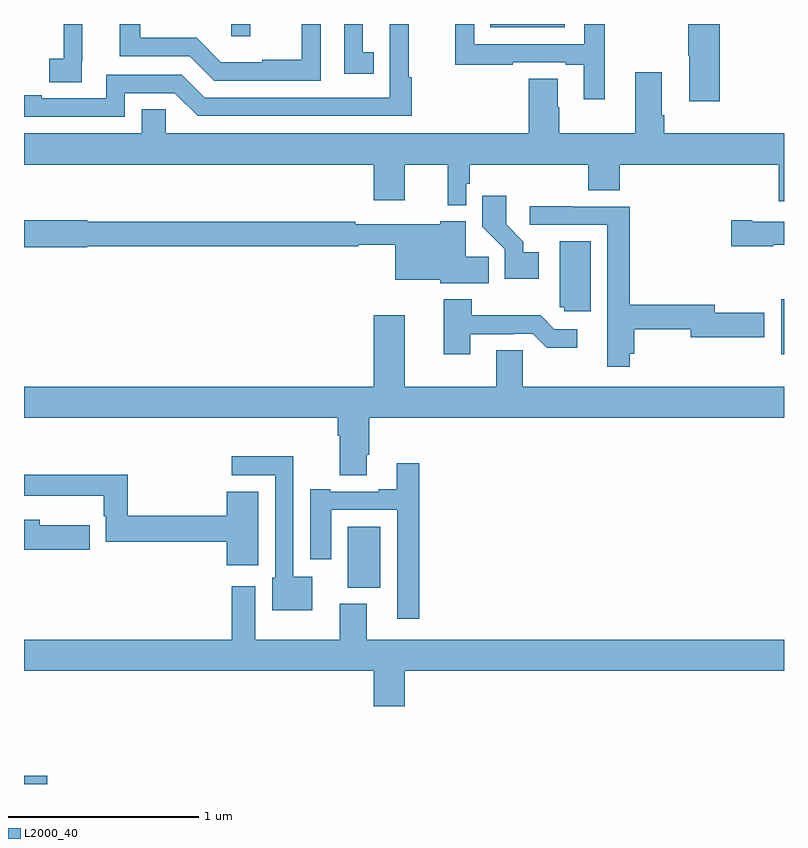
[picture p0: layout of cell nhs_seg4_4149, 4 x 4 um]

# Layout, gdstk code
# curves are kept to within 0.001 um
import gdstk
lib = gdstk.Library(unit=1e-6, precision=1e-09)
def R(c, l, rs):  # rectangles x0, y0, x1, y1
    for r in rs: c.add(gdstk.rectangle(r[:2], r[2:], *l))
def P(c, l, *ps):  # polygons
    for p in ps: c.add(gdstk.Polygon(p, *l))
L2000_40 = (2000, 40)

nhs_seg4_4149 = lib.new_cell('nhs_seg4_4149')
R(nhs_seg4_4149, L2000_40, [(331,786.9,331.123,786.944), (332.705,787.934,332.875,788.254), (334.985,789.162,335,789.451), (332.091,790.836,332.192,790.9), (333.454,790.883,333.847,790.9)])
P(nhs_seg4_4149, L2000_40, [(332.562,790.9),(332.461,790.9),(332.461,790.711),(332.255,790.711),(332.255,790.699),(332.036,790.699),(331.908,790.827),(331.612,790.827),(331.612,790.9),(331.505,790.9),(331.505,790.731),(331.872,790.731),(332.001,790.602),(332.562,790.602)],
  [(332.84,790.751),(332.782,790.751),(332.782,790.9),(332.685,790.9),(332.685,790.638),(332.84,790.638)],
  [(331.304,790.705),(331.306,790.705),(331.306,790.9),(331.208,790.9),(331.208,790.716),(331.134,790.716),(331.134,790.594),(331.304,790.594)],
  [(334.057,790.9),(333.948,790.9),(333.948,790.794),(333.369,790.794),(333.369,790.9),(333.271,790.9),(333.271,790.686),(333.572,790.686),(333.572,790.698),(333.851,790.698),(333.851,790.686),(333.947,790.686),(333.947,790.503),(334.057,790.503)],
  [(331.53,790.536),(331.794,790.536),(331.914,790.416),(333.041,790.416),(333.041,790.619),(333.024,790.619),(333.024,790.9),(332.924,790.9),(332.925,790.512),(331.95,790.512),(331.83,790.632),(331.434,790.632),(331.434,790.509),(331.093,790.509),(331.093,790.524),(331,790.524),(331,790.413),(331.53,790.413)],
  [(334.661,790.9),(334.495,790.9),(334.495,790.732),(334.502,790.732),(334.502,790.494),(334.661,790.494)],
  [(334.217,790.645),(334.217,790.324),(333.816,790.324),(333.816,790.463),(333.808,790.463),(333.808,790.613),(333.656,790.613),(333.656,790.324),(331.746,790.324),(331.746,790.451),(331.619,790.451),(331.619,790.324),(331,790.324),(331,790.16),(332.84,790.16),(332.84,789.972),(333.004,789.972),(333.004,790.16),(333.229,790.16),(333.229,789.947),(333.327,789.947),(333.327,790.059),(333.347,790.059),(333.347,790.16),(333.971,790.16),(333.971,790.024),(334.136,790.024),(334.136,790.16),(334.973,790.16),(334.973,789.966),(335,789.966),(335,790.324),(334.37,790.324),(334.37,790.42),(334.357,790.42),(334.357,790.645)],
  [(333.709,789.7),(333.628,789.7),(333.628,789.755),(333.538,789.845),(333.538,789.997),(333.412,789.997),(333.412,789.834),(333.531,789.715),(333.531,789.56),(333.709,789.56)],
  [(334.187,789.164),(334.212,789.164),(334.212,789.294),(334.508,789.294),(334.508,789.251),(334.897,789.251),(334.897,789.381),(334.636,789.381),(334.636,789.422),(334.187,789.422),(334.187,789.939),(333.887,789.939),(333.887,789.942),(333.663,789.942),(333.663,789.843),(334.071,789.843),(334.071,789.096),(334.187,789.096)],
  [(334.944,789.737),(335,789.737),(335,789.859),(334.834,789.859),(334.834,789.867),(334.722,789.867),(334.722,789.73),(334.944,789.73)],
  [(333.446,789.674),(333.325,789.674),(333.325,789.862),(333.192,789.862),(333.192,789.846),(332.744,789.846),(332.744,789.859),(331.332,789.859),(331.332,789.867),(331,789.867),(331,789.725),(331.332,789.725),(331.332,789.73),(332.758,789.73),(332.758,789.738),(332.954,789.738),(332.954,789.554),(333.192,789.554),(333.192,789.536),(333.446,789.536)],
  [(333.982,789.757),(333.821,789.757),(333.821,789.408),(333.843,789.408),(333.843,789.387),(333.982,789.387)],
  [(333.349,789.267),(333.578,789.267),(333.578,789.27),(333.678,789.27),(333.751,789.197),(333.913,789.197),(333.913,789.294),(333.792,789.294),(333.719,789.367),(333.357,789.367),(333.357,789.451),(333.209,789.451),(333.209,789.162),(333.349,789.162)],
  [(332.803,788.632),(332.816,788.632),(332.816,788.828),(335,788.828),(335,788.992),(333.624,788.992),(333.624,789.182),(333.485,789.182),(333.485,788.992),(333.004,788.992),(333.004,789.367),(332.84,789.367),(332.84,788.992),(331,788.992),(331,788.828),(332.651,788.828),(332.651,788.732),(332.663,788.732),(332.663,788.524),(332.803,788.524)],
  [(332.518,787.99),(332.418,787.99),(332.418,788.624),(332.094,788.624),(332.094,788.526),(332.322,788.526),(332.322,787.986),(332.306,787.986),(332.306,787.814),(332.518,787.814)],
  [(333.08,788.587),(332.963,788.587),(332.963,788.452),(332.867,788.452),(332.867,788.439),(332.611,788.439),(332.611,788.452),(332.507,788.452),(332.507,788.082),(332.617,788.082),(332.617,788.343),(332.964,788.343),(332.964,787.77),(333.08,787.77)],
  [(332.233,788.437),(332.066,788.437),(332.066,788.312),(331.547,788.312),(331.547,788.527),(331,788.527),(331,788.418),(331.18,788.418),(331.18,788.417),(331.419,788.417),(331.419,788.31),(331.431,788.31),(331.431,788.176),(332.066,788.176),(332.066,788.051),(332.233,788.051)],
  [(331.345,788.263),(331.084,788.263),(331.084,788.292),(331,788.292),(331,788.134),(331.345,788.134)],
  [(333.004,787.496),(335,787.496),(335,787.66),(332.803,787.66),(332.803,787.849),(332.663,787.849),(332.663,787.66),(332.218,787.66),(332.218,787.942),(332.093,787.942),(332.093,787.66),(331,787.66),(331,787.496),(332.84,787.496),(332.84,787.308),(333.004,787.308)])

lib.write_gds('nhs_seg4_4149.gds')
